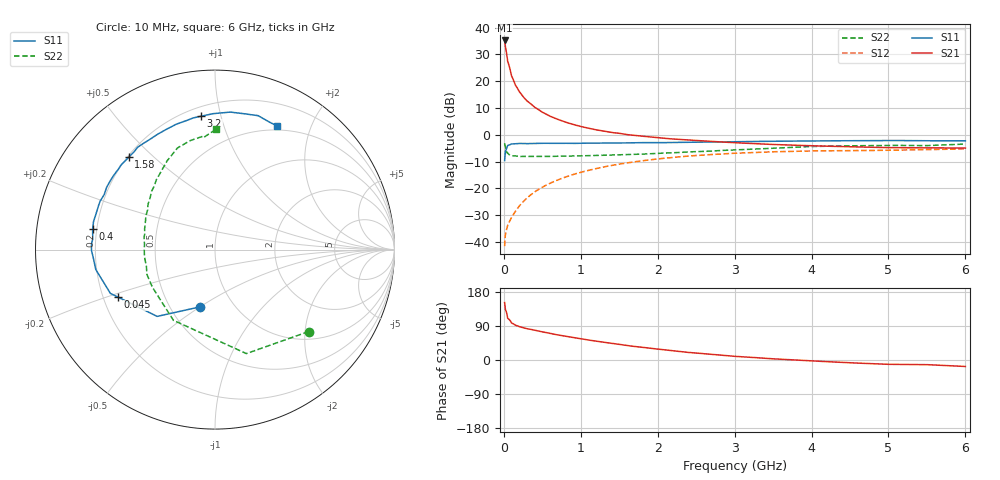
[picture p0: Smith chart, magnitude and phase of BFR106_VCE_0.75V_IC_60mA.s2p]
! Infineon Technologies  Discrete & RF Semiconductors
! BFR106
! VCE = 0.75 V,  IC =  60 mA
! Common Emitter S-Parameters:  Nov 2015
# GHz  S  MA  R  50
!  f  S11  S21  S12  S22
! GHz  MAG  ANG  MAG  ANG  MAG  ANG  MAG  ANG
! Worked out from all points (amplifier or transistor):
!   210 points, 10 MHz to 6 GHz, reference 50 ohm
!   highest |S21| = 35.2 dB at 10 MHz (marker M1)
!   |S21| within 3 dB of that: start of sweep to 25.14 MHz
!   unconditionally stable (mu >= 1): 132.3 MHz to end of sweep
!   at 185 MHz: K = 1.08, MAG = 20.4 dB, |S12| = -27.2 dB
!   at 1.52 GHz: K = 1.12, MAG = 3.5 dB, |S12| = -10.9 dB
!   at 6 GHz: K = 1.03, MAG = -1.0 dB, |S12| = -5.3 dB
!   S11 on the Smith chart (normalised r, x): 10 MHz: 0.70, -0.50; 45 MHz: 0.26, -0.22; 400 MHz: 0.18, +0.08; 1.58 GHz: 0.20, +0.42; 3.2 GHz: 0.26, +0.87; 6 GHz: 0.45, +1.53
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0.01  0.3302 -104.8  57.81 151.5  0.0083 67.0  0.6933 -41.2
0.02  0.4924 -130.9  44.86 133.3  0.0136 55.7  0.6052 -73.2
0.045  0.6011 -153.8  26.74 116.4  0.0192 51.1  0.4555 -111.0
0.05  0.6318 -157.3  23.64 110.1  0.0203 50.5  0.4571 -120.4
0.1  0.6734 -170.5  12.59 97.6  0.0284 57.0  0.4069 -148.9
0.15  0.6802 -176.5  8.494 91.9  0.037 62.0  0.4038 -160.0
0.2  0.6885 -179.7  6.44 88.1  0.0465 65.3  0.3933 -166.4
0.24  0.6887 177.7  5.397 85.8  0.0541 66.6  0.3933 -170.1
0.26  0.6878 176.7  4.97 84.7  0.0579 67.3  0.3938 -171.6
0.3  0.6835 175.1  4.299 82.7  0.0656 68.5  0.3948 -173.8
0.4  0.6912 170.6  3.274 78.4  0.0854 69.3  0.3945 -178.5
0.5  0.6946 167.0  2.644 74.3  0.1047 69.0  0.3935 177.9
0.6  0.692 163.3  2.225 70.1  0.1241 67.9  0.3938 175.3
0.8  0.6945 157.1  1.721 62.8  0.1622 64.9  0.4008 170.2
1.02  0.6966 149.5  1.407 55.5  0.2025 61.2  0.4047 165.6
1.58  0.7043 133.1  1.019 38.9  0.2955 50.4  0.4272 154.1
2.02  0.7128 121.4  0.877 28.4  0.3562 41.8  0.4518 145.4
3.1  0.745 97.7  0.7 8.5  0.4569 22.5  0.528 124.7
3.2  0.7471 95.9  0.689 7.2  0.4625 20.9  0.536 123.0
4.1  0.771 82.4  0.617 -3.4  0.4999 7.9  0.6068 108.7
5.1  0.7813 71.2  0.574 -11.6  0.5161 -2.7  0.6331 96.2
6  0.7709 63.3  0.565 -17.1  0.5442 -10.9  0.671 89.5
